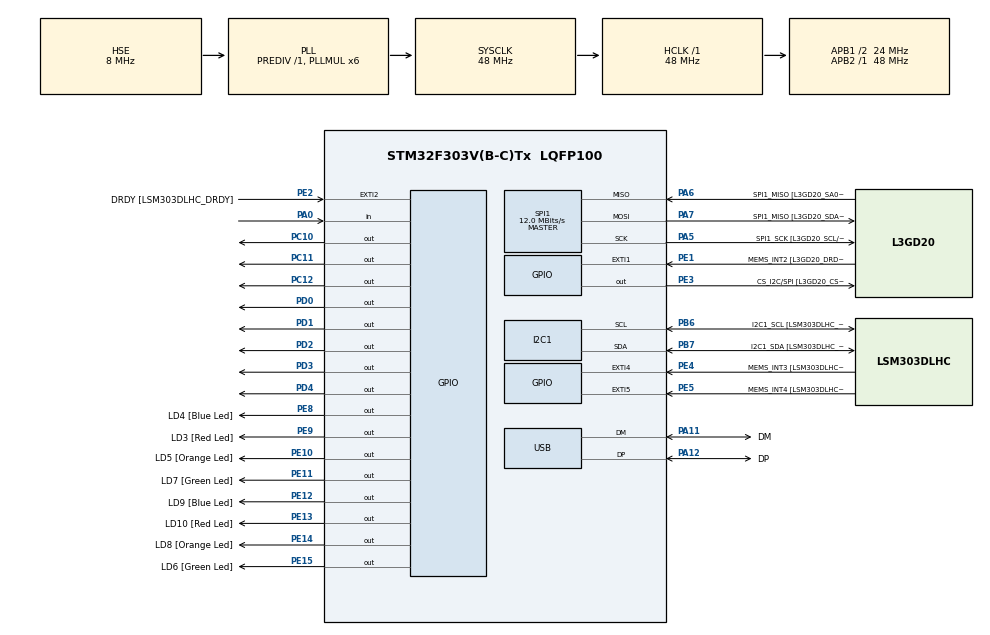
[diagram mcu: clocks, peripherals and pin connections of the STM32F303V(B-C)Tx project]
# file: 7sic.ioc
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I2C1.Timing=0x2000090E
I2C1.Timing-I2C=0x2000090E
Mcu.Family=STM32F3
Mcu.Name=STM32F303V(B-C)Tx
Mcu.Package=LQFP100
NVIC.PriorityGroup=NVIC_PRIORITYGROUP_0
PA0.Signal=GPIO_Input
PA11.GPIO_Label=DM
PA11.Mode=Device
PA11.Signal=USB_DM
PA12.GPIO_Label=DP
PA12.Mode=Device
PA12.Signal=USB_DP
PA13.GPIO_Label=SWDIO
PA13.Mode=Serial_Wire
PA13.Signal=SYS_JTMS-SWDIO
PA14.GPIO_Label=SWCLK
PA14.Mode=Serial_Wire
PA14.Signal=SYS_JTCK-SWCLK
PA5.GPIO_Label=SPI1_SCK [L3GD20_SCL/SPC]
PA5.Mode=Full_Duplex_Master
PA5.Signal=SPI1_SCK
PA6.GPIO_Label=SPI1_MISO [L3GD20_SA0/SDO]
PA6.Mode=Full_Duplex_Master
PA6.Signal=SPI1_MISO
PA7.GPIO_Label=SPI1_MISO [L3GD20_SDA/SDI/SDO]
PA7.Mode=Full_Duplex_Master
PA7.Signal=SPI1_MOSI
PB3.GPIO_Label=SWO
PB3.Signal=SYS_JTDO-TRACESWO
PB6.GPIO_Label=I2C1_SCL [LSM303DLHC_SCL]
PB6.Mode=I2C
PB6.Signal=I2C1_SCL
PB7.GPIO_Label=I2C1_SDA [LSM303DLHC_SDA]
PB7.Mode=I2C
PB7.Signal=I2C1_SDA
PC10.Signal=GPIO_Output
PC11.Signal=GPIO_Output
PC12.Signal=GPIO_Output
PC14-OSC32_IN.GPIO_Label=OSC32_IN
PC14-OSC32_IN.Signal=RCC_OSC32_IN
PC15-OSC32_OUT.GPIO_Label=OSC32_OUT
PC15-OSC32_OUT.Signal=RCC_OSC32_OUT
PD0.Signal=GPIO_Output
PD1.Signal=GPIO_Output
PD2.Signal=GPIO_Output
PD3.Signal=GPIO_Output
PD4.Signal=GPIO_Output
PE1.GPIO_Label=MEMS_INT2 [L3GD20_DRDY/INT2]
PE1.GPIO_ModeDefaultEXTI=GPIO_MODE_EVT_RISING
PE1.Signal=GPXTI1
PE10.GPIO_Label=LD5 [Orange Led]
PE10.Signal=GPIO_Output
PE11.GPIO_Label=LD7 [Green Led]
PE11.Signal=GPIO_Output
PE12.GPIO_Label=LD9 [Blue Led]
PE12.Signal=GPIO_Output
PE13.GPIO_Label=LD10 [Red Led]
PE13.Signal=GPIO_Output
PE14.GPIO_Label=LD8 [Orange Led]
PE14.Signal=GPIO_Output
PE15.GPIO_Label=LD6 [Green Led]
PE15.Signal=GPIO_Output
PE2.GPIO_Label=DRDY [LSM303DLHC_DRDY]
PE2.GPIO_ModeDefaultEXTI=GPIO_MODE_EVT_RISING
PE2.Signal=GPXTI2
PE3.GPIO_Label=CS_I2C/SPI [L3GD20_CS_I2C/SPI]
PE3.Signal=GPIO_Output
PE4.GPIO_Label=MEMS_INT3 [LSM303DLHC_INT1]
PE4.GPIO_ModeDefaultEXTI=GPIO_MODE_EVT_RISING
PE4.Signal=GPXTI4
PE5.GPIO_Label=MEMS_INT4 [LSM303DLHC_INT2]
PE5.GPIO_ModeDefaultEXTI=GPIO_MODE_EVT_RISING
PE5.Signal=GPXTI5
PE8.GPIO_Label=LD4 [Blue Led]
PE8.Signal=GPIO_Output
PE9.GPIO_Label=LD3 [Red Led]
PE9.Signal=GPIO_Output
PF0-OSC_IN.GPIO_Label=OSC_IN
PF0-OSC_IN.Mode=HSE-External-Clock-Source
PF0-OSC_IN.Signal=RCC_OSC_IN
PF1-OSC_OUT.GPIO_Label=OSC_OUT
PF1-OSC_OUT.Signal=RCC_OSC_OUT
ProjectManager.HeapSize=0x200
ProjectManager.StackSize=0x400
ProjectManager.TargetToolchain=MDK-ARM V5
RCC.AHBFreq_Value=48000000
RCC.APB1CLKDivider=RCC_HCLK_DIV2
RCC.APB1Freq_Value=24000000
RCC.APB1TimFreq_Value=48000000
RCC.APB2Freq_Value=48000000
RCC.APB2TimFreq_Value=48000000
RCC.CortexFreq_Value=48000000
RCC.HCLKFreq_Value=48000000
RCC.HSE_VALUE=8000000
RCC.HSI_VALUE=8000000
RCC.LSE_VALUE=32768
RCC.PLLMUL=RCC_PLL_MUL6
RCC.SYSCLKFreq_VALUE=48000000
RCC.SYSCLKSourceVirtual=RCC_SYSCLKSOURCE_PLLCLK
RCC.USBFreq_Value=48000000
SPI1.BaudRatePrescaler=SPI_BAUDRATEPRESCALER_4
SPI1.BaudRatePrescaler-Full_Duplex_Master=SPI_BAUDRATEPRESCALER_2
SPI1.CalculateBaudRate=12.0 MBits/s
SPI1.CalculateBaudRate-Full_Duplex_Master=24.0 MBits/s
SPI1.Direction=SPI_DIRECTION_2LINES
SPI1.Mode=SPI_MODE_MASTER
SPI1.Mode-Full_Duplex_Master=SPI_MODE_MASTER
SPI1.VirtualType=VM_MASTER
board=STM32F3DISCOVERY

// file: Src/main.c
/**
  ******************************************************************************
  * @file           : main.c
  * @brief          : Main program body
  ******************************************************************************
  ** This notice applies to any and all portions of this file
  * that are not between comment pairs USER CODE BEGIN and
  * USER CODE END. Other portions of this file, whether
  * inserted by the user or by software development tools
  * are owned by their respective copyright owners.
  *
  * COPYRIGHT(c) 2020 STMicroelectronics
  *
  * Redistribution and use in source and binary forms, with or without modification,
  * are permitted provided that the following conditions are met:
  *   1. Redistributions of source code must retain the above copyright notice,
  *      this list of conditions and the following disclaimer.
  *   2. Redistributions in binary form must reproduce the above copyright notice,
  *      this list of conditions and the following disclaimer in the documentation
  *      and/or other materials provided with the distribution.
  *   3. Neither the name of STMicroelectronics nor the names of its contributors
  *      may be used to endorse or promote products derived from this software
  *      without specific prior written permission.
  *
  * THIS SOFTWARE IS PROVIDED BY THE COPYRIGHT HOLDERS AND CONTRIBUTORS "AS IS"
  * AND ANY EXPRESS OR IMPLIED WARRANTIES, INCLUDING, BUT NOT LIMITED TO, THE
  * IMPLIED WARRANTIES OF MERCHANTABILITY AND FITNESS FOR A PARTICULAR PURPOSE ARE
  * DISCLAIMED. IN NO EVENT SHALL THE COPYRIGHT HOLDER OR CONTRIBUTORS BE LIABLE
  * FOR ANY DIRECT, INDIRECT, INCIDENTAL, SPECIAL, EXEMPLARY, OR CONSEQUENTIAL
  * DAMAGES (INCLUDING, BUT NOT LIMITED TO, PROCUREMENT OF SUBSTITUTE GOODS OR
  * SERVICES; LOSS OF USE, DATA, OR PROFITS; OR BUSINESS INTERRUPTION) HOWEVER
  * CAUSED AND ON ANY THEORY OF LIABILITY, WHETHER IN CONTRACT, STRICT LIABILITY,
  * OR TORT (INCLUDING NEGLIGENCE OR OTHERWISE) ARISING IN ANY WAY OUT OF THE USE
  * OF THIS SOFTWARE, EVEN IF ADVISED OF THE POSSIBILITY OF SUCH DAMAGE.
  *
  ******************************************************************************
  */
#include "main.h"
#include "stm32f3xx_hal.h"

/* USER CODE BEGIN Includes */
int counter=1;

/* USER CODE END Includes */

I2C_HandleTypeDef hi2c1;

SPI_HandleTypeDef hspi1;

PCD_HandleTypeDef hpcd_USB_FS;

/* USER CODE BEGIN PV */
/* Private variables ---------------------------------------------------------*/

/* USER CODE END PV */

void SystemClock_Config(void);
static void MX_GPIO_Init(void);
static void MX_I2C1_Init(void);
static void MX_SPI1_Init(void);
static void MX_USB_PCD_Init(void);

/* USER CODE BEGIN PFP */
/* Private function prototypes -----------------------------------------------*/

/* USER CODE END PFP */

/* USER CODE BEGIN 0 */
void numbertobcd(int i){
int x1=i&1;
int x2=i&2;
int x3=i&4;
int x4=i&8;
if(x1>0)
	x1=1;
if(x2>0)
	x2=1;
if(x3>0)
	x3=1;
if(x4>0)
	x4=1;
HAL_GPIO_WritePin(GPIOD,GPIO_PIN_1,x1);
HAL_GPIO_WritePin(GPIOD,GPIO_PIN_2,x2);
HAL_GPIO_WritePin(GPIOD,GPIO_PIN_3,x3);
HAL_GPIO_WritePin(GPIOD,GPIO_PIN_4,x4);

}
/* USER CODE END 0 */

int main(void)
{
  /* USER CODE BEGIN 1 */
int m=0;
int s=0;
int ss=0;
  /* USER CODE END 1 */

  /* MCU Configuration----------------------------------------------------------*/

  /* Reset of all peripherals, Initializes the Flash interface and the Systick. */
  HAL_Init();

  /* Configure the system clock */
  SystemClock_Config();

  /* Initialize all configured peripherals */
  MX_GPIO_Init();
  MX_I2C1_Init();
  MX_SPI1_Init();
  MX_USB_PCD_Init();
  /* USER CODE BEGIN 2 */
//HAL_TIM_Base_Start_IT(&htim4);
  /* USER CODE END 2 */

  /* Infinite loop */
  while (1)
  {

  /* USER CODE BEGIN 3 */
		if(HAL_GPIO_ReadPin(GPIOA,GPIO_PIN_0)){

//			HAL_Delay(100);
//			s++;

			ss++;
			if(ss==15){
			s++;
				ss=0;
			}

			if(s==60){
			m++;
				s=0;
			}
			//while(HAL_GPIO_ReadPin(GPIOA,GPIO_PIN_0) );
		}
		HAL_GPIO_WritePin(GPIOC,GPIO_PIN_11,1);
		HAL_GPIO_WritePin(GPIOC,GPIO_PIN_12,1);
		HAL_GPIO_WritePin(GPIOD,GPIO_PIN_0,1);
		HAL_GPIO_WritePin(GPIOC,GPIO_PIN_10,0);
		numbertobcd (m/10);
		HAL_Delay(3);

		HAL_GPIO_WritePin(GPIOC,GPIO_PIN_11,0);
		HAL_GPIO_WritePin(GPIOC,GPIO_PIN_12,1);
		HAL_GPIO_WritePin(GPIOD,GPIO_PIN_0,1);
		HAL_GPIO_WritePin(GPIOC,GPIO_PIN_10,1);
		numbertobcd (m%10);
		HAL_Delay(3);

		HAL_GPIO_WritePin(GPIOC,GPIO_PIN_11,1);
		HAL_GPIO_WritePin(GPIOC,GPIO_PIN_12,0);
		HAL_GPIO_WritePin(GPIOD,GPIO_PIN_0,1);
		HAL_GPIO_WritePin(GPIOC,GPIO_PIN_10,1);
		numbertobcd (s/10);
		HAL_Delay(3);

		HAL_GPIO_WritePin(GPIOC,GPIO_PIN_11,1);
		HAL_GPIO_WritePin(GPIOC,GPIO_PIN_12,1);
		HAL_GPIO_WritePin(GPIOD,GPIO_PIN_0,0);
		HAL_GPIO_WritePin(GPIOC,GPIO_PIN_10,1);
		numbertobcd (s%10);
		HAL_Delay(3);
  }
  /* USER CODE END 3 */

}

void SystemClock_Config(void)
{

  RCC_OscInitTypeDef RCC_OscInitStruct;
  RCC_ClkInitTypeDef RCC_ClkInitStruct;
  RCC_PeriphCLKInitTypeDef PeriphClkInit;

    /**Initializes the CPU, AHB and APB busses clocks
    */
  RCC_OscInitStruct.OscillatorType = RCC_OSCILLATORTYPE_HSI|RCC_OSCILLATORTYPE_HSE;
  RCC_OscInitStruct.HSEState = RCC_HSE_BYPASS;
  RCC_OscInitStruct.HSEPredivValue = RCC_HSE_PREDIV_DIV1;
  RCC_OscInitStruct.HSIState = RCC_HSI_ON;
  RCC_OscInitStruct.HSICalibrationValue = 16;
  RCC_OscInitStruct.PLL.PLLState = RCC_PLL_ON;
  RCC_OscInitStruct.PLL.PLLSource = RCC_PLLSOURCE_HSE;
  RCC_OscInitStruct.PLL.PLLMUL = RCC_PLL_MUL6;
  if (HAL_RCC_OscConfig(&RCC_OscInitStruct) != HAL_OK)
  {
    _Error_Handler(__FILE__, __LINE__);
  }

    /**Initializes the CPU, AHB and APB busses clocks
    */
  RCC_ClkInitStruct.ClockType = RCC_CLOCKTYPE_HCLK|RCC_CLOCKTYPE_SYSCLK
                              |RCC_CLOCKTYPE_PCLK1|RCC_CLOCKTYPE_PCLK2;
  RCC_ClkInitStruct.SYSCLKSource = RCC_SYSCLKSOURCE_PLLCLK;
  RCC_ClkInitStruct.AHBCLKDivider = RCC_SYSCLK_DIV1;
  RCC_ClkInitStruct.APB1CLKDivider = RCC_HCLK_DIV2;
  RCC_ClkInitStruct.APB2CLKDivider = RCC_HCLK_DIV1;

  if (HAL_RCC_ClockConfig(&RCC_ClkInitStruct, FLASH_LATENCY_1) != HAL_OK)
  {
    _Error_Handler(__FILE__, __LINE__);
  }

  PeriphClkInit.PeriphClockSelection = RCC_PERIPHCLK_USB|RCC_PERIPHCLK_I2C1;
  PeriphClkInit.I2c1ClockSelection = RCC_I2C1CLKSOURCE_HSI;
  PeriphClkInit.USBClockSelection = RCC_USBCLKSOURCE_PLL;
  if (HAL_RCCEx_PeriphCLKConfig(&PeriphClkInit) != HAL_OK)
  {
    _Error_Handler(__FILE__, __LINE__);
  }

    /**Configure the Systick interrupt time
    */
  HAL_SYSTICK_Config(HAL_RCC_GetHCLKFreq()/1000);

    /**Configure the Systick
    */
  HAL_SYSTICK_CLKSourceConfig(SYSTICK_CLKSOURCE_HCLK);

  /* SysTick_IRQn interrupt configuration */
  HAL_NVIC_SetPriority(SysTick_IRQn, 0, 0);
}

/* I2C1 init function */
static void MX_I2C1_Init(void)
{

  hi2c1.Instance = I2C1;
  hi2c1.Init.Timing = 0x2000090E;
  hi2c1.Init.OwnAddress1 = 0;
  hi2c1.Init.AddressingMode = I2C_ADDRESSINGMODE_7BIT;
  hi2c1.Init.DualAddressMode = I2C_DUALADDRESS_DISABLE;
  hi2c1.Init.OwnAddress2 = 0;
  hi2c1.Init.OwnAddress2Masks = I2C_OA2_NOMASK;
  hi2c1.Init.GeneralCallMode = I2C_GENERALCALL_DISABLE;
  hi2c1.Init.NoStretchMode = I2C_NOSTRETCH_DISABLE;
  if (HAL_I2C_Init(&hi2c1) != HAL_OK)
  {
    _Error_Handler(__FILE__, __LINE__);
  }

    /**Configure Analogue filter
    */
  if (HAL_I2CEx_ConfigAnalogFilter(&hi2c1, I2C_ANALOGFILTER_ENABLE) != HAL_OK)
  {
    _Error_Handler(__FILE__, __LINE__);
  }

    /**Configure Digital filter
    */
  if (HAL_I2CEx_ConfigDigitalFilter(&hi2c1, 0) != HAL_OK)
  {
    _Error_Handler(__FILE__, __LINE__);
  }

}

/* SPI1 init function */
static void MX_SPI1_Init(void)
{

  /* SPI1 parameter configuration*/
  hspi1.Instance = SPI1;
  hspi1.Init.Mode = SPI_MODE_MASTER;
  hspi1.Init.Direction = SPI_DIRECTION_2LINES;
  hspi1.Init.DataSize = SPI_DATASIZE_4BIT;
  hspi1.Init.CLKPolarity = SPI_POLARITY_LOW;
  hspi1.Init.CLKPhase = SPI_PHASE_1EDGE;
  hspi1.Init.NSS = SPI_NSS_SOFT;
  hspi1.Init.BaudRatePrescaler = SPI_BAUDRATEPRESCALER_4;
  hspi1.Init.FirstBit = SPI_FIRSTBIT_MSB;
  hspi1.Init.TIMode = SPI_TIMODE_DISABLE;
  hspi1.Init.CRCCalculation = SPI_CRCCALCULATION_DISABLE;
  hspi1.Init.CRCPolynomial = 7;
  hspi1.Init.CRCLength = SPI_CRC_LENGTH_DATASIZE;
  hspi1.Init.NSSPMode = SPI_NSS_PULSE_ENABLE;
  if (HAL_SPI_Init(&hspi1) != HAL_OK)
  {
    _Error_Handler(__FILE__, __LINE__);
  }

}

/* USB init function */
static void MX_USB_PCD_Init(void)
{

  hpcd_USB_FS.Instance = USB;
  hpcd_USB_FS.Init.dev_endpoints = 8;
  hpcd_USB_FS.Init.speed = PCD_SPEED_FULL;
  hpcd_USB_FS.Init.ep0_mps = DEP0CTL_MPS_64;
  hpcd_USB_FS.Init.phy_itface = PCD_PHY_EMBEDDED;
  hpcd_USB_FS.Init.low_power_enable = DISABLE;
  hpcd_USB_FS.Init.battery_charging_enable = DISABLE;
  if (HAL_PCD_Init(&hpcd_USB_FS) != HAL_OK)
  {
    _Error_Handler(__FILE__, __LINE__);
  }

}

/** Configure pins as
        * Analog
        * Input
        * Output
        * EVENT_OUT
        * EXTI
        * Free pins are configured automatically as Analog (this feature is enabled through
        * the Code Generation settings)
*/
static void MX_GPIO_Init(void)
{

  GPIO_InitTypeDef GPIO_InitStruct;

  /* GPIO Ports Clock Enable */
  __HAL_RCC_GPIOE_CLK_ENABLE();
  __HAL_RCC_GPIOC_CLK_ENABLE();
  __HAL_RCC_GPIOF_CLK_ENABLE();
  __HAL_RCC_GPIOA_CLK_ENABLE();
  __HAL_RCC_GPIOB_CLK_ENABLE();
  __HAL_RCC_GPIOD_CLK_ENABLE();

  /*Configure GPIO pin Output Level */
  HAL_GPIO_WritePin(GPIOE, CS_I2C_SPI_Pin|LD4_Pin|LD3_Pin|LD5_Pin
                          |LD7_Pin|LD9_Pin|LD10_Pin|LD8_Pin
                          |LD6_Pin, GPIO_PIN_RESET);

  /*Configure GPIO pin Output Level */
  HAL_GPIO_WritePin(GPIOC, GPIO_PIN_10|GPIO_PIN_11|GPIO_PIN_12, GPIO_PIN_RESET);

  /*Configure GPIO pin Output Level */
  HAL_GPIO_WritePin(GPIOD, GPIO_PIN_0|GPIO_PIN_1|GPIO_PIN_2|GPIO_PIN_3
                          |GPIO_PIN_4, GPIO_PIN_RESET);

  /*Configure GPIO pins : DRDY_Pin MEMS_INT3_Pin MEMS_INT4_Pin MEMS_INT2_Pin */
  GPIO_InitStruct.Pin = DRDY_Pin|MEMS_INT3_Pin|MEMS_INT4_Pin|MEMS_INT2_Pin;
  GPIO_InitStruct.Mode = GPIO_MODE_EVT_RISING;
  GPIO_InitStruct.Pull = GPIO_NOPULL;
  HAL_GPIO_Init(GPIOE, &GPIO_InitStruct);

  /*Configure GPIO pins : CS_I2C_SPI_Pin LD4_Pin LD3_Pin LD5_Pin
                           LD7_Pin LD9_Pin LD10_Pin LD8_Pin
                           LD6_Pin */
  GPIO_InitStruct.Pin = CS_I2C_SPI_Pin|LD4_Pin|LD3_Pin|LD5_Pin
                          |LD7_Pin|LD9_Pin|LD10_Pin|LD8_Pin
                          |LD6_Pin;
  GPIO_InitStruct.Mode = GPIO_MODE_OUTPUT_PP;
  GPIO_InitStruct.Pull = GPIO_NOPULL;
  GPIO_InitStruct.Speed = GPIO_SPEED_FREQ_LOW;
  HAL_GPIO_Init(GPIOE, &GPIO_InitStruct);

  /*Configure GPIO pins : PE6 PE7 PE0 */
  GPIO_InitStruct.Pin = GPIO_PIN_6|GPIO_PIN_7|GPIO_PIN_0;
  GPIO_InitStruct.Mode = GPIO_MODE_ANALOG;
  GPIO_InitStruct.Pull = GPIO_NOPULL;
  HAL_GPIO_Init(GPIOE, &GPIO_InitStruct);

  /*Configure GPIO pins : PC13 PC0 PC1 PC2
                           PC3 PC4 PC5 PC6
                           PC7 PC8 PC9 */
  GPIO_InitStruct.Pin = GPIO_PIN_13|GPIO_PIN_0|GPIO_PIN_1|GPIO_PIN_2
                          |GPIO_PIN_3|GPIO_PIN_4|GPIO_PIN_5|GPIO_PIN_6
                          |GPIO_PIN_7|GPIO_PIN_8|GPIO_PIN_9;
  GPIO_InitStruct.Mode = GPIO_MODE_ANALOG;
  GPIO_InitStruct.Pull = GPIO_NOPULL;
  HAL_GPIO_Init(GPIOC, &GPIO_InitStruct);

  /*Configure GPIO pins : PF9 PF10 PF2 PF4
                           PF6 */
  GPIO_InitStruct.Pin = GPIO_PIN_9|GPIO_PIN_10|GPIO_PIN_2|GPIO_PIN_4
                          |GPIO_PIN_6;
  GPIO_InitStruct.Mode = GPIO_MODE_ANALOG;
  GPIO_InitStruct.Pull = GPIO_NOPULL;
  HAL_GPIO_Init(GPIOF, &GPIO_InitStruct);

  /*Configure GPIO pin : PA0 */
  GPIO_InitStruct.Pin = GPIO_PIN_0;
  GPIO_InitStruct.Mode = GPIO_MODE_INPUT;
  GPIO_InitStruct.Pull = GPIO_NOPULL;
  HAL_GPIO_Init(GPIOA, &GPIO_InitStruct);

  /*Configure GPIO pins : PA1 PA2 PA3 PA4
                           PA8 PA9 PA10 PA15 */
  GPIO_InitStruct.Pin = GPIO_PIN_1|GPIO_PIN_2|GPIO_PIN_3|GPIO_PIN_4
                          |GPIO_PIN_8|GPIO_PIN_9|GPIO_PIN_10|GPIO_PIN_15;
  GPIO_InitStruct.Mode = GPIO_MODE_ANALOG;
  GPIO_InitStruct.Pull = GPIO_NOPULL;
  HAL_GPIO_Init(GPIOA, &GPIO_InitStruct);

  /*Configure GPIO pins : PB0 PB1 PB2 PB10
                           PB11 PB12 PB13 PB14
                           PB15 PB4 PB5 PB8
                           PB9 */
  GPIO_InitStruct.Pin = GPIO_PIN_0|GPIO_PIN_1|GPIO_PIN_2|GPIO_PIN_10
                          |GPIO_PIN_11|GPIO_PIN_12|GPIO_PIN_13|GPIO_PIN_14
                          |GPIO_PIN_15|GPIO_PIN_4|GPIO_PIN_5|GPIO_PIN_8
                          |GPIO_PIN_9;
  GPIO_InitStruct.Mode = GPIO_MODE_ANALOG;
  GPIO_InitStruct.Pull = GPIO_NOPULL;
  HAL_GPIO_Init(GPIOB, &GPIO_InitStruct);

  /*Configure GPIO pins : PD8 PD9 PD10 PD11
                           PD12 PD13 PD14 PD15
                           PD5 PD6 PD7 */
  GPIO_InitStruct.Pin = GPIO_PIN_8|GPIO_PIN_9|GPIO_PIN_10|GPIO_PIN_11
                          |GPIO_PIN_12|GPIO_PIN_13|GPIO_PIN_14|GPIO_PIN_15
                          |GPIO_PIN_5|GPIO_PIN_6|GPIO_PIN_7;
  GPIO_InitStruct.Mode = GPIO_MODE_ANALOG;
  GPIO_InitStruct.Pull = GPIO_NOPULL;
  HAL_GPIO_Init(GPIOD, &GPIO_InitStruct);

  /*Configure GPIO pins : PC10 PC11 PC12 */
  GPIO_InitStruct.Pin = GPIO_PIN_10|GPIO_PIN_11|GPIO_PIN_12;
  GPIO_InitStruct.Mode = GPIO_MODE_OUTPUT_PP;
  GPIO_InitStruct.Pull = GPIO_NOPULL;
  GPIO_InitStruct.Speed = GPIO_SPEED_FREQ_LOW;
  HAL_GPIO_Init(GPIOC, &GPIO_InitStruct);

  /*Configure GPIO pins : PD0 PD1 PD2 PD3
                           PD4 */
  GPIO_InitStruct.Pin = GPIO_PIN_0|GPIO_PIN_1|GPIO_PIN_2|GPIO_PIN_3
                          |GPIO_PIN_4;
  GPIO_InitStruct.Mode = GPIO_MODE_OUTPUT_PP;
  GPIO_InitStruct.Pull = GPIO_NOPULL;
  GPIO_InitStruct.Speed = GPIO_SPEED_FREQ_LOW;
  HAL_GPIO_Init(GPIOD, &GPIO_InitStruct);

}

void _Error_Handler(char *file, int line)
{
  while(1)
  {
  }
}

/************************ (C) COPYRIGHT STMicroelectronics *****END OF FILE****/
